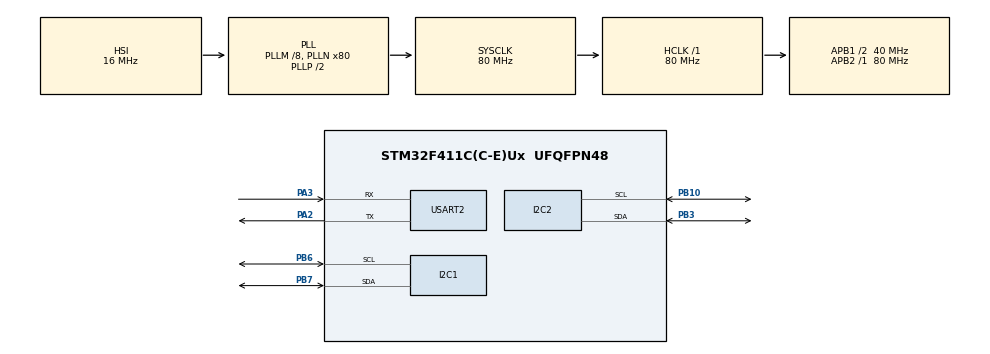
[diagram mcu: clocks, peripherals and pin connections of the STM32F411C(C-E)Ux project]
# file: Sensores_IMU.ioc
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Mcu.Family=STM32F4
Mcu.Name=STM32F411C(C-E)Ux
Mcu.Package=UFQFPN48
NVIC.PriorityGroup=NVIC_PRIORITYGROUP_4
PA2.Mode=Asynchronous
PA2.Signal=USART2_TX
PA3.Mode=Asynchronous
PA3.Signal=USART2_RX
PB10.Mode=I2C
PB10.Signal=I2C2_SCL
PB3.Mode=I2C
PB3.Signal=I2C2_SDA
PB6.Mode=I2C
PB6.Signal=I2C1_SCL
PB7.Mode=I2C
PB7.Signal=I2C1_SDA
ProjectManager.HeapSize=0x200
ProjectManager.StackSize=0x400
ProjectManager.TargetToolchain=STM32CubeIDE
RCC.48MHZClocksFreq_Value=40000000
RCC.AHBFreq_Value=80000000
RCC.APB1CLKDivider=RCC_HCLK_DIV2
RCC.APB1Freq_Value=40000000
RCC.APB1TimFreq_Value=80000000
RCC.APB2Freq_Value=80000000
RCC.APB2TimFreq_Value=80000000
RCC.CortexFreq_Value=80000000
RCC.HCLKFreq_Value=80000000
RCC.HSE_VALUE=25000000
RCC.HSI_VALUE=16000000
RCC.LSE_VALUE=32768
RCC.PLLM=8
RCC.PLLN=80
RCC.SYSCLKFreq_VALUE=80000000
RCC.SYSCLKSource=RCC_SYSCLKSOURCE_PLLCLK
RCC.VCOOutputFreq_Value=160000000
USART2.VirtualMode=VM_ASYNC
board=custom

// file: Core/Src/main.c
/* USER CODE BEGIN Header */
/**
  ******************************************************************************
  * @file           : main.c
  * @brief          : Main program body
  ******************************************************************************
  * @attention
  *
  * Copyright (c) 2025 STMicroelectronics.
  * All rights reserved.
  *
  * This software is licensed under terms that can be found in the LICENSE file
  * in the root directory of this software component.
  * If no LICENSE file comes with this software, it is provided AS-IS.
  *
  ******************************************************************************
  */
/* USER CODE END Header */
#include "main.h"
/* USER CODE BEGIN Includes */
#include "stm32f4xx_hal.h"
#include <stdio.h>
#include <math.h>
#include "MPU6050.h"
#include "QMC5883.h"
#include "MadgwickAHRS.h"
/* USER CODE END Includes */

/* USER CODE BEGIN PTD */

// Estrutura para agrupar todos os dados dos sensores de forma organizada.
// Isso evita o uso de múltiplas variáveis globais.
typedef struct {
    float ax, ay, az; // Acelerômetro
    float gx, gy, gz; // Giroscópio
    float mx, my, mz; // Magnetômetro
} SensorData; // <--- ADICIONE O PONTO E VÍRGULA AQUI
/* USER CODE END PTD */

/* USER CODE BEGIN PD */
#define SAMPLE_PERIOD 0.01f    // 10 ms = 100 Hz
#define LOOP_INTERVAL 10       // Intervalo do loop principal em milissegundos
/* USER CODE END PD */

I2C_HandleTypeDef hi2c1;
I2C_HandleTypeDef hi2c2;

UART_HandleTypeDef huart2;

/* USER CODE BEGIN PV */
// Variáveis do filtro Madgwick (globais porque representam o estado do sistema)
//volatile float beta = 0.1f;   // Ganho do filtro Madgwick
//volatile float q0 = 1.0f, q1 = 0.0f, q2 = 0.0f, q3 = 0.0f; // Quaternião

// Handle do magnetômetro
QMC_t qmc;

// Variável para controle de tempo do loop
uint32_t lastTick = 0;
/* USER CODE END PV */

void SystemClock_Config(void);
static void MX_GPIO_Init(void);
static void MX_I2C1_Init(void);
static void MX_I2C2_Init(void);
static void MX_USART2_UART_Init(void);
/* USER CODE BEGIN PFP */
void Read_Sensors(SensorData *data);
void Process_Data(const SensorData *data);

// Redireciona o 'printf' para a UART
int __io_putchar(int ch) {
    HAL_UART_Transmit(&huart2, (uint8_t *)&ch, 1, HAL_MAX_DELAY);
    return ch;
}
/* USER CODE END PFP */

/* USER CODE BEGIN 0 */

/* Read all sensors ----------------------------------------------------------*/
void Read_Sensors(SensorData *data)
{
    // Leitura do acelerômetro e giroscópio
    // Os dados são armazenados diretamente na struct através do ponteiro
    MPU6050_Read_Accel(&data->ax, &data->ay, &data->az);
    MPU6050_Read_Gyro(&data->gx, &data->gy, &data->gz);

    // Leitura do magnetômetro
    QMC_read(&qmc);
    data->mx = (float)qmc.Xaxis;
    data->my = (float)qmc.Yaxis;
    data->mz = (float)qmc.Zaxis;
}

/* Process data with Madgwick ------------------------------------------------*/
void Process_Data(const SensorData *data)
{
    // Atualiza o AHRS com os novos dados dos sensores
    MadgwickAHRSupdate(data->gx, data->gy, data->gz,
                       data->ax, data->ay, data->az,
                       data->mx, data->my, data->mz);

    // Imprime o quaternião resultante
    printf("Quaternion: q0:%.3f q1:%.3f q2:%.3f q3:%.3f\r\n", q0, q1, q2, q3);

    // --- CÁLCULO CORRETO DO HEADING (YAW) ---
    // O heading é extraído do quaternião, que já está com a inclinação compensada.
    // Isso garante que a leitura da "bússola" seja precisa mesmo se o sensor estiver inclinado.
    float yaw_rad = atan2f(2.0f * (q0 * q3 + q1 * q2), 1.0f - 2.0f * (q2 * q2 + q3 * q3));
    float heading_deg = yaw_rad * (180.0f / M_PI);

    // Converte para a faixa de 0-360 graus
    if (heading_deg < 0) {
        heading_deg += 360.0f;
    }

    printf("Heading (Corrigido): %.2f graus\r\n\r\n", heading_deg);
}

/* USER CODE END 0 */

int main(void)
{

  /* USER CODE BEGIN 1 */
  SensorData raw_data;
  /* USER CODE END 1 */

  /* MCU Configuration--------------------------------------------------------*/

  /* Reset of all peripherals, Initializes the Flash interface and the Systick. */
  HAL_Init();

  /* USER CODE BEGIN Init */
  // A declaração DEVE estar aqui, no início da função main.

  /* USER CODE END Init */

  /* Configure the system clock */
  SystemClock_Config();

  /* Initialize all configured peripherals */
  MX_GPIO_Init();
  MX_I2C1_Init();
  MX_I2C2_Init();
  MX_USART2_UART_Init();
  /* USER CODE BEGIN 2 */
  MPU6050_init();
  QMC_init(&qmc, &hi2c1, Continuous);

  // Inicialização do filtro AHRS

  /* USER CODE END 2 */

  /* Infinite loop */
  while (1)
  {

    /* USER CODE BEGIN 3 */
	  uint32_t now = HAL_GetTick();

	     // Loop com taxa de amostragem fixa (100 Hz)
	     if ((now - lastTick) >= LOOP_INTERVAL)
	     {
	         lastTick = now;

	         // 1. Lê os dados brutos e preenche a estrutura 'raw_data'
	         Read_Sensors(&raw_data);

	         // 2. Processa os dados da estrutura 'raw_data'
	         Process_Data(&raw_data);
	     }
	   }
	    /* USER CODE END 3 */
}

void SystemClock_Config(void)
{
  RCC_OscInitTypeDef RCC_OscInitStruct = {0};
  RCC_ClkInitTypeDef RCC_ClkInitStruct = {0};

  /** Configure the main internal regulator output voltage
  */
  __HAL_RCC_PWR_CLK_ENABLE();
  __HAL_PWR_VOLTAGESCALING_CONFIG(PWR_REGULATOR_VOLTAGE_SCALE1);

  /** Initializes the RCC Oscillators according to the specified parameters
  * in the RCC_OscInitTypeDef structure.
  */
  RCC_OscInitStruct.OscillatorType = RCC_OSCILLATORTYPE_HSI;
  RCC_OscInitStruct.HSIState = RCC_HSI_ON;
  RCC_OscInitStruct.HSICalibrationValue = RCC_HSICALIBRATION_DEFAULT;
  RCC_OscInitStruct.PLL.PLLState = RCC_PLL_ON;
  RCC_OscInitStruct.PLL.PLLSource = RCC_PLLSOURCE_HSI;
  RCC_OscInitStruct.PLL.PLLM = 8;
  RCC_OscInitStruct.PLL.PLLN = 80;
  RCC_OscInitStruct.PLL.PLLP = RCC_PLLP_DIV2;
  RCC_OscInitStruct.PLL.PLLQ = 4;
  if (HAL_RCC_OscConfig(&RCC_OscInitStruct) != HAL_OK)
  {
    Error_Handler();
  }

  /** Initializes the CPU, AHB and APB buses clocks
  */
  RCC_ClkInitStruct.ClockType = RCC_CLOCKTYPE_HCLK|RCC_CLOCKTYPE_SYSCLK
                              |RCC_CLOCKTYPE_PCLK1|RCC_CLOCKTYPE_PCLK2;
  RCC_ClkInitStruct.SYSCLKSource = RCC_SYSCLKSOURCE_PLLCLK;
  RCC_ClkInitStruct.AHBCLKDivider = RCC_SYSCLK_DIV1;
  RCC_ClkInitStruct.APB1CLKDivider = RCC_HCLK_DIV2;
  RCC_ClkInitStruct.APB2CLKDivider = RCC_HCLK_DIV1;

  if (HAL_RCC_ClockConfig(&RCC_ClkInitStruct, FLASH_LATENCY_2) != HAL_OK)
  {
    Error_Handler();
  }
}

static void MX_I2C1_Init(void)
{

  hi2c1.Instance = I2C1;
  hi2c1.Init.ClockSpeed = 100000;
  hi2c1.Init.DutyCycle = I2C_DUTYCYCLE_2;
  hi2c1.Init.OwnAddress1 = 0;
  hi2c1.Init.AddressingMode = I2C_ADDRESSINGMODE_7BIT;
  hi2c1.Init.DualAddressMode = I2C_DUALADDRESS_DISABLE;
  hi2c1.Init.OwnAddress2 = 0;
  hi2c1.Init.GeneralCallMode = I2C_GENERALCALL_DISABLE;
  hi2c1.Init.NoStretchMode = I2C_NOSTRETCH_DISABLE;
  if (HAL_I2C_Init(&hi2c1) != HAL_OK)
  {
    Error_Handler();
  }

}

static void MX_I2C2_Init(void)
{

  hi2c2.Instance = I2C2;
  hi2c2.Init.ClockSpeed = 100000;
  hi2c2.Init.DutyCycle = I2C_DUTYCYCLE_2;
  hi2c2.Init.OwnAddress1 = 0;
  hi2c2.Init.AddressingMode = I2C_ADDRESSINGMODE_7BIT;
  hi2c2.Init.DualAddressMode = I2C_DUALADDRESS_DISABLE;
  hi2c2.Init.OwnAddress2 = 0;
  hi2c2.Init.GeneralCallMode = I2C_GENERALCALL_DISABLE;
  hi2c2.Init.NoStretchMode = I2C_NOSTRETCH_DISABLE;
  if (HAL_I2C_Init(&hi2c2) != HAL_OK)
  {
    Error_Handler();
  }

}

static void MX_USART2_UART_Init(void)
{

  huart2.Instance = USART2;
  huart2.Init.BaudRate = 115200;
  huart2.Init.WordLength = UART_WORDLENGTH_8B;
  huart2.Init.StopBits = UART_STOPBITS_1;
  huart2.Init.Parity = UART_PARITY_NONE;
  huart2.Init.Mode = UART_MODE_TX_RX;
  huart2.Init.HwFlowCtl = UART_HWCONTROL_NONE;
  huart2.Init.OverSampling = UART_OVERSAMPLING_16;
  if (HAL_UART_Init(&huart2) != HAL_OK)
  {
    Error_Handler();
  }

}

static void MX_GPIO_Init(void)
{

  /* GPIO Ports Clock Enable */
  __HAL_RCC_GPIOA_CLK_ENABLE();
  __HAL_RCC_GPIOB_CLK_ENABLE();

}

void Error_Handler(void)
{
  __disable_irq();
  while (1)
  {
  }
}
